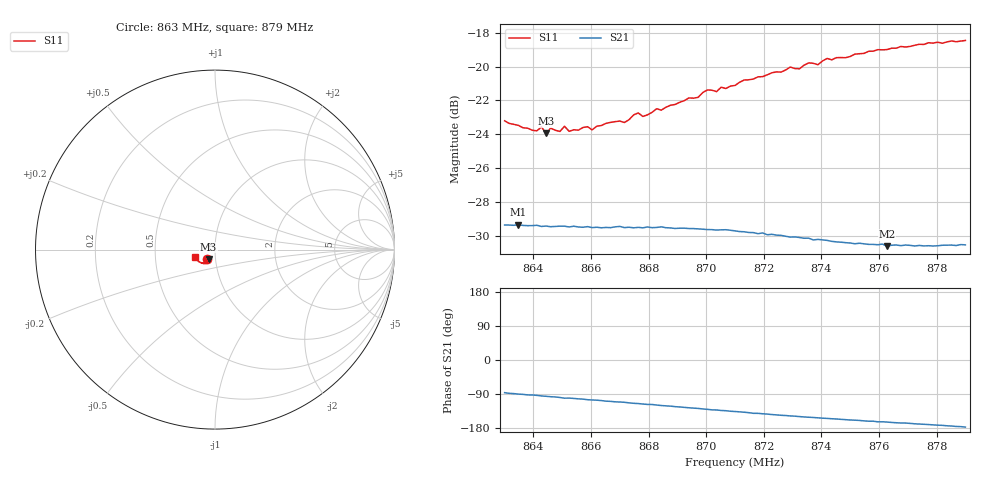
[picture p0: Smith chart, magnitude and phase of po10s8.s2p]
# HZ S RI R 50
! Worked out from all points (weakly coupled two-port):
!   101 points, 863 MHz to 879 MHz, reference 50 ohm
!   highest |S21| = -29.33 dB at 863.48 MHz (marker M1); lowest = -30.6 dB at 876.28 MHz (marker M2)
!   lowest |S11| = -23.9 dB at 864.44 MHz (marker M3), VSWR 1.14, Z = 46.3 - j4.86 ohm
!   |S11| at or under -10 dB: start of sweep to end of sweep
!   S12 and S22 are empty: the file has one direction only
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8.63e8  -0.0446 -0.0529  0.00228 -0.034  0 0  0 0
8.6348e8  -0.0413 -0.0528  2.9e-05 -0.0342  0 0  0 0
8.6412e8  -0.0381 -0.0522  -0.00197 -0.034  0 0  0 0
8.6428e8  -0.038 -0.0544  -0.00285 -0.0336  0 0  0 0
8.6444e8  -0.0362 -0.0523  -0.00337 -0.0337  0 0  0 0
8.646e8  -0.0374 -0.0542  -0.00407 -0.0334  0 0  0 0
8.6492e8  -0.0355 -0.0537  -0.00524 -0.0334  0 0  0 0
8.6508e8  -0.0373 -0.0553  -0.00629 -0.0332  0 0  0 0
8.6524e8  -0.0345 -0.0544  -0.00614 -0.0331  0 0  0 0
8.6572e8  -0.0333 -0.0571  -0.00768 -0.0327  0 0  0 0
8.6604e8  -0.033 -0.0561  -0.00898 -0.0323  0 0  0 0
8.6716e8  -0.0317 -0.0606  -0.0123 -0.0311  0 0  0 0
8.6764e8  -0.0344 -0.0644  -0.0141 -0.0304  0 0  0 0
8.678e8  -0.033 -0.0631  -0.0147 -0.03  0 0  0 0
8.6844e8  -0.0342 -0.066  -0.0169 -0.0291  0 0  0 0
8.6972e8  -0.0383 -0.0715  -0.0204 -0.0262  0 0  0 0
8.7004e8  -0.0423 -0.0741  -0.0213 -0.0252  0 0  0 0
8.71e8  -0.0471 -0.0743  -0.0235 -0.0228  0 0  0 0
8.7372e8  -0.0677 -0.0766  -0.0271 -0.0146  0 0  0 0
8.7628e8  -0.0925 -0.0635  -0.0283 -0.00825  0 0  0 0
8.7644e8  -0.0936 -0.0638  -0.0287 -0.00777  0 0  0 0
8.79e8  -0.1124 -0.0403  -0.0297 -0.00157  0 0  0 0
